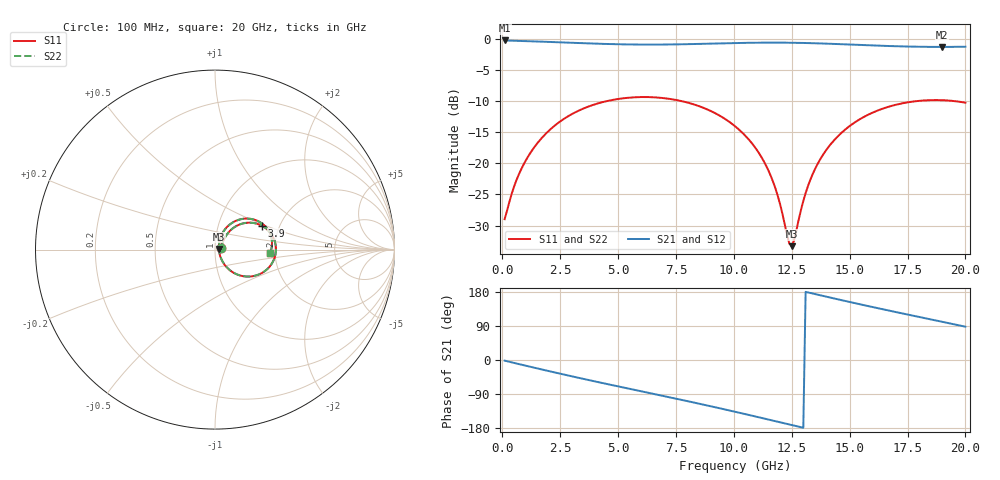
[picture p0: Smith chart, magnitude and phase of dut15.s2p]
! Touchstone file exported from HFSS 2026.1.0
!  File:  C:/ffzhzh/LocalFiles/Ansys_Project_Files/temp_val_TSV_RDL_15_1782977090_45568.aedt
!  Generated:  03:36:08 PM Jul  2, 2026
!  Design:  TSV_RDL
!  Project:  temp_val_TSV_RDL_15_1782977090_45568
! Variables:
!  h_bsmrdl = 3.06um
!  h_ox = 20um
!  h_rdl = 5um
!  h_sub = 91.29um
!  h_tmrdl = 3.11um
!  h_tsv = 91.29um
!  h_via = 3um
!  l_bsmrdl = 481.63um
!  l_sub = 4470.86um
!  l_tmrdl = 630.97um
!  m_sub = 200um
!  pitch = 25.77um
!  r_tsv = 3.46um
!  s_tmrdl = 10um
!  w_bsmrdl = 19.43um
!  w_sub = 500um
!  w_tmrdl = 14.6um
!  x_tsv_center1 = 638.27um
!  x_tsv_center2 = 1139.33um
!  x_tsv_center3 = 1784.9um
!  x_tsv_center4 = 2285.96um
!  x_tsv_center5 = 2931.53um
!  x_tsv_center6 = 3432.59um
# GHz S MA R 50.000000
! Terminal data exported
! Port[1] = TM_RDL1_1_T1
! Port[2] = TM_RDL5_1_T1
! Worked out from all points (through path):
!   200 points, 100 MHz to 20 GHz, reference 50 ohm
!   highest |S21| = -0.30 dB at 100 MHz (marker M1); lowest = -1.3 dB at 19 GHz (marker M2)
!   group delay of S21, straight-line fit = 37.9 ps
!   lowest |S11| = -33.3 dB at 12.5 GHz (marker M3), VSWR 1.04, Z = 52.2 + j0.349 ohm
!   |S11| at or under -10 dB: start of sweep to 4.551 GHz; 7.706 GHz to 17.97 GHz (10.26 GHz wide, 79.9 % of centre); 19.46 GHz to end of sweep
!   |S22| runs from -33.0 to -9.4 dB; largest |S21 - S12| = 1.6e-14
!   S11 on the Smith chart (normalised r, x): 100 MHz: 1.07, +0.02; 3.9 GHz: 1.62, +0.47; 20 GHz: 1.88, -0.08
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0.1  0.03558 17.1  0.9662 -1.6  0.9662 -1.6  0.03558 17.1
! Gamma 0 0 0 0
! Port Impedance 50 0 50 0
0.6  0.07227 48.0  0.9589 -9.1  0.9589 -9.1  0.07226 48.0
1.3  0.128 51.7  0.9504 -19.2  0.9504 -19.2  0.128 51.7
2.3  0.2029 44.6  0.9366 -33.4  0.9366 -33.4  0.2029 44.6
3.5  0.2745 31.6  0.9183 -49.8  0.9183 -49.8  0.2745 31.7
3.9  0.2928 27.0  0.9127 -55.2  0.9127 -55.2  0.2928 27.0
5.3  0.3333 10.5  0.8985 -73.5  0.8985 -73.5  0.3333 10.5
6.8  0.3355 -7.5  0.8956 -92.9  0.8956 -92.9  0.3354 -7.4
8.5  0.2869 -28.0  0.9063 -115.3  0.9063 -115.3  0.2869 -27.9
10.1  0.1949 -46.9  0.9214 -137.2  0.9214 -137.2  0.1949 -46.8
10.9  0.1352 -55.0  0.9267 -148.6  0.9267 -148.6  0.1353 -54.7
11.5  0.08689 -58.0  0.9285 -157.2  0.9285 -157.2  0.087 -57.6
11.9  0.05448 -54.6  0.9285 -162.9  0.9285 -162.9  0.0547 -54.0
12.4  0.02256 -12.2  0.9269 -170.2  0.9269 -170.2  0.02321 -11.6
12.5  0.02161 8.9  0.9263 -171.6  0.9263 -171.6  0.02231 8.9
13  0.04982 61.3  0.9227 -178.8  0.9227 -178.8  0.05017 60.6
13.4  0.08142 66.1  0.9187 175.5  0.9187 175.5  0.08166 65.7
14  0.1284 63.7  0.9112 167.0  0.9112 167.0  0.1286 63.4
14.7  0.179 57.2  0.901 157.2  0.901 157.2  0.1791 57.0
16.7  0.2846 34.5  0.8717 130.4  0.8717 130.4  0.2847 34.4
19  0.3206 7.8  0.8575 100.8  0.8575 100.8  0.3206 7.8
20  0.3062 -3.7  0.8605 87.9  0.8605 87.9  0.3062 -3.7
